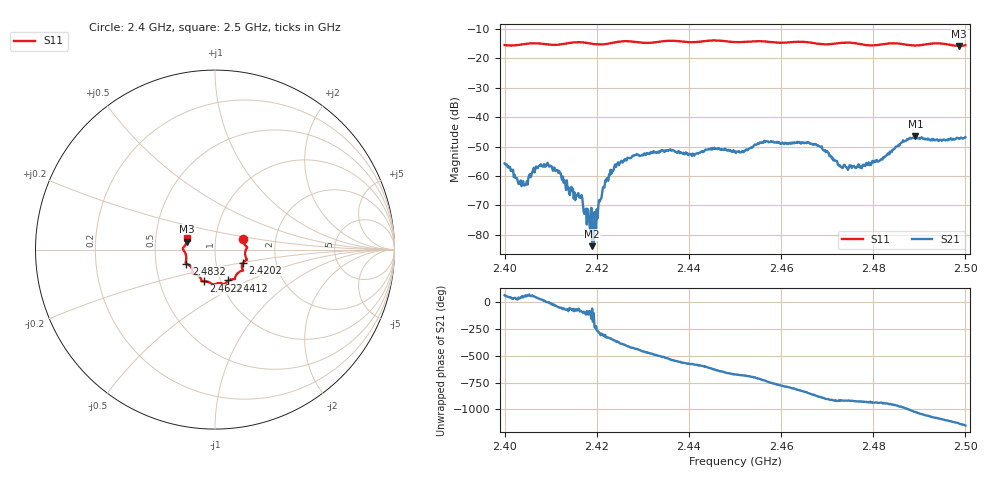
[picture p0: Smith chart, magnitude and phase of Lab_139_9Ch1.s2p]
# Hz S RI R 50
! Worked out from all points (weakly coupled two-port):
!   601 points, 2.4 GHz to 2.5 GHz, reference 50 ohm
!   highest |S21| = -46.58 dB at 2.4892 GHz (marker M1); lowest = -83.9 dB at 2.419 GHz (marker M2)
!   lowest |S11| = -15.8 dB at 2.4987 GHz (marker M3), VSWR 1.39, Z = 36.4 + j3.36 ohm
!   |S11| at or under -10 dB: start of sweep to end of sweep
!   S12 and S22 are empty: the file has one direction only
!   S11 on the Smith chart (normalised r, x): 2.4 GHz: 1.36, +0.17; 2.4202 GHz: 1.35, -0.20; 2.4412 GHz: 1.09, -0.39; 2.4622 GHz: 0.83, -0.30; 2.4832 GHz: 0.72, -0.12; 2.5 GHz: 0.73, +0.09
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2.4e9  0.1563 0.0598  0.000665 0.00149  0 0  0 0
2.404167e9  0.1726 0.0192  0.000447 0.000524  0 0  0 0
2.407333e9  0.1786 0.0105  0.00118 0.00084  0 0  0 0
2.409667e9  0.1705 -0.005  0.00144 -1.73e-05  0 0  0 0
2.416667e9  0.1774 -0.0581  5.45e-05 -0.000473  0 0  0 0
2.419e9  0.1639 -0.0648  3.29e-05 -5.49e-05  0 0  0 0
2.420167e9  0.1561 -0.0725  -2.95e-06 0.00019  0 0  0 0
2.421833e9  0.15 -0.0879  0.000468 0.000692  0 0  0 0
2.424167e9  0.1534 -0.1083  0.00141 -9.07e-05  0 0  0 0
2.433333e9  0.1131 -0.1523  -0.00195 -0.0017  0 0  0 0
2.441167e9  0.0751 -0.1721  -0.00164 0.0015  0 0  0 0
2.45e9  0.0261 -0.1865  0.00179 0.00191  0 0  0 0
2.456667e9  -0.0171 -0.1917  0.00376 -0.000858  0 0  0 0
2.462167e9  -0.0633 -0.1767  0.000638 -0.00362  0 0  0 0
2.466667e9  -0.0766 -0.1663  -0.00266 -0.00222  0 0  0 0
2.473e9  -0.1206 -0.1366  -0.00137 0.000387  0 0  0 0
2.4775e9  -0.1256 -0.1176  -0.00118 0.000669  0 0  0 0
2.483167e9  -0.1597 -0.0782  -0.00158 0.00167  0 0  0 0
2.483333e9  -0.1604 -0.0777  -0.00167 0.00182  0 0  0 0
2.489167e9  -0.1613 -0.032  0.00266 0.00386  0 0  0 0
2.498667e9  -0.1562 0.045  0.00262 -0.00335  0 0  0 0
2.5e9  -0.1535 0.0632  0.00156 -0.00428  0 0  0 0
